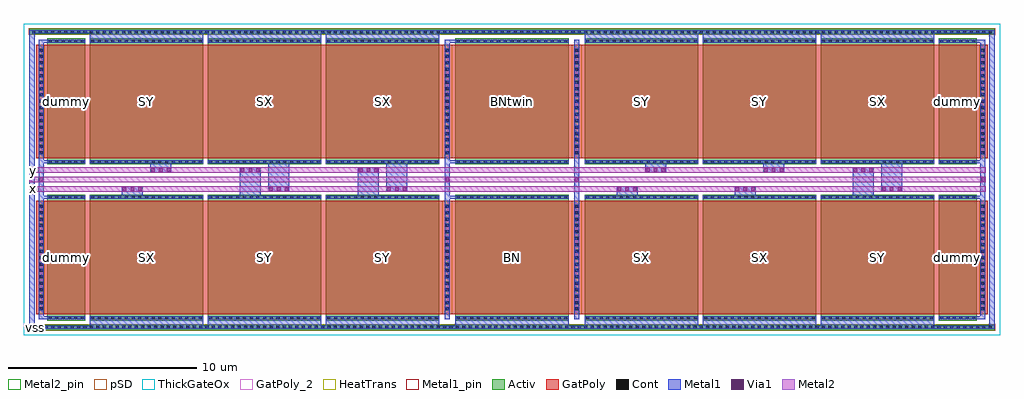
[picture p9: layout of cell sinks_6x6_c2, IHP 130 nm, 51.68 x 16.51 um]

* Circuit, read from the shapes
.subckt sinks_6x6_c2 vbn vss x y
XM1 vbn vbn vbn vss sg13_hv_nmos w=2u l=6u m=4
XM2 x vbn vss vss sg13_hv_nmos w=6u l=6u m=6
XM3 vss vbn y vss sg13_hv_nmos w=6u l=6u m=6
XM4 vbn vbn vss vss sg13_hv_nmos w=6u l=6u
XM5 vbn vbn vbn vss sg13_hv_nmos w=6u l=6u
.ends

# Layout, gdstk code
from math import pi, radians
import gdstk
lib = gdstk.Library(unit=1e-6, precision=1e-09)
def R(c, l, rs):  # rectangles x0, y0, x1, y1
    for r in rs: c.add(gdstk.rectangle(r[:2], r[2:], *l))
def A(c, l, x, y, w, h, nx, ny, dx, dy):  # array of equal rectangles
    R(c, l, [(x+i*dx, y+j*dy, x+i*dx+w, y+j*dy+h) for i in range(nx) for j in range(ny)])
Activ = (1, 0)
GatPoly = (5, 0)
GatPoly_2 = (5, 2)
Cont = (6, 0)
Metal1 = (8, 0)
Metal1_pin = (8, 2)
Metal2 = (10, 0)
Metal2_pin = (10, 2)
pSD = (14, 0)
Via1 = (19, 0)
ThickGateOx = (44, 0)
HeatTrans = (51, 0)

nmoshv_1_1 = lib.new_cell('nmosHV$1$1')
R(nmoshv_1_1, Activ, [(0,0,0.3,0.3), (0,0,6.68,6), (6.38,0,6.68,0.3)])
R(nmoshv_1_1, GatPoly, [(0.34,-0.18,6.34,6.18)])
R(nmoshv_1_1, GatPoly_2, [(0.34,-0.18,6.34,6.18)])
A(nmoshv_1_1, Cont, 0.07, 0.07, 0.16, 0.16, 1, 4, 0, 0.355)
A(nmoshv_1_1, Cont, 6.45, 0.07, 0.16, 0.16, 1, 4, 0, 0.355)
A(nmoshv_1_1, Cont, 0.07, 1.495, 0.16, 0.16, 1, 4, 0, 0.355)
A(nmoshv_1_1, Cont, 6.45, 1.495, 0.16, 0.16, 1, 4, 0, 0.355)
A(nmoshv_1_1, Cont, 0.07, 2.92, 0.16, 0.16, 1, 4, 0, 0.355)
A(nmoshv_1_1, Cont, 6.45, 2.92, 0.16, 0.16, 1, 4, 0, 0.355)
A(nmoshv_1_1, Cont, 0.07, 4.345, 0.16, 0.16, 1, 4, 0, 0.355)
A(nmoshv_1_1, Cont, 6.45, 4.345, 0.16, 0.16, 1, 4, 0, 0.355)
R(nmoshv_1_1, Cont, [(0.07,5.77,0.23,5.93), (6.45,5.77,6.61,5.93)])
R(nmoshv_1_1, Metal1, [(0.07,0,0.23,6), (6.45,0,6.61,6)])
R(nmoshv_1_1, Metal1_pin, [(0.07,0,0.23,6), (6.45,0,6.61,6)])
R(nmoshv_1_1, ThickGateOx, [(-0.27,-0.52,6.95,6.52)])
R(nmoshv_1_1, HeatTrans, [(0.34,-0.18,6.34,6.18)])
nmoshv_1_1.add(gdstk.Label('nmosHV', (3.34,3), layer=63, texttype=0))
nmoshv_1_1.add(gdstk.Label('nmosHV', (3.34,3), layer=51, texttype=0))

nmoshv_7 = lib.new_cell('nmosHV$7')
R(nmoshv_7, Activ, [(0,0,0.3,0.3), (0,0,6.68,2), (6.38,0,6.68,0.3)])
R(nmoshv_7, GatPoly, [(0.34,-0.18,6.34,2.18)])
R(nmoshv_7, GatPoly_2, [(0.34,-0.18,6.34,2.18)])
A(nmoshv_7, Cont, 0.07, 0.07, 0.16, 0.16, 1, 6, 0, 0.34)
A(nmoshv_7, Cont, 6.45, 0.07, 0.16, 0.16, 1, 6, 0, 0.34)
R(nmoshv_7, Metal1, [(0.07,0,0.23,2), (6.45,0,6.61,2)])
R(nmoshv_7, Metal1_pin, [(0.07,0,0.23,2), (6.45,0,6.61,2)])
R(nmoshv_7, ThickGateOx, [(-0.27,-0.52,6.95,2.52)])
R(nmoshv_7, HeatTrans, [(0.34,-0.18,6.34,2.18)])
nmoshv_7.add(gdstk.Label('nmosHV', (3.34,1), layer=63, texttype=0))
nmoshv_7.add(gdstk.Label('nmosHV', (3.34,1), layer=51, texttype=0))

sinks_6x6_c2 = lib.new_cell('sinks_6x6_c2')
R(sinks_6x6_c2, Activ, [(-0.97,-0.51,50.17,-0.21), (-0.97,15.16,50.17,15.46)])
R(sinks_6x6_c2, GatPoly, [(-0.6,0.34,-0.1,6.34), (20.85,0.34,21.5,6.34), (27.7,0.34,28.35,6.34), (49.3,0.34,49.8,6.34), (-0.6,8.61,-0.1,14.61), (20.85,8.61,21.5,14.61), (27.7,8.61,28.35,14.61), (49.3,8.61,49.8,14.61)])
A(sinks_6x6_c2, Cont, -0.81, -0.44, 0.16, 0.16, 150, 2, 0.34, 15.67)
A(sinks_6x6_c2, Cont, -0.41, 0.54, 0.16, 0.16, 1, 17, 0, 0.34)
A(sinks_6x6_c2, Cont, 21.095, 0.54, 0.16, 0.16, 1, 17, 0, 0.34)
A(sinks_6x6_c2, Cont, 27.945, 0.54, 0.16, 0.16, 1, 17, 0, 0.34)
A(sinks_6x6_c2, Cont, 49.45, 0.54, 0.16, 0.16, 1, 17, 0, 0.34)
A(sinks_6x6_c2, Cont, -0.41, 8.81, 0.16, 0.16, 1, 17, 0, 0.34)
A(sinks_6x6_c2, Cont, 21.095, 8.81, 0.16, 0.16, 1, 17, 0, 0.34)
A(sinks_6x6_c2, Cont, 27.945, 8.81, 0.16, 0.16, 1, 17, 0, 0.34)
A(sinks_6x6_c2, Cont, 49.45, 8.81, 0.16, 0.16, 1, 17, 0, 0.34)
A(sinks_6x6_c2, Metal1, 2.25, -0.44, 6, 0.67, 3, 2, 6.25, 15.16)
A(sinks_6x6_c2, Metal1, 28.45, -0.44, 6, 0.67, 3, 2, 6.25, 15.16)
R(sinks_6x6_c2, Metal1, [(-0.97,-0.44,-0.68,15.39), (-0.86,-0.44,50.06,-0.28), (21.6,-0.44,27.6,0.23), (49.88,-0.44,50.17,15.39), (-0.46,0.07,-0.2,14.88), (-0.33,0.07,0.1,0.23), (21.045,0.07,21.305,14.88), (27.895,0.07,28.155,14.88), (49.1,0.07,49.53,0.23), (49.4,0.07,49.66,14.88), (-0.33,6.45,0.1,6.61), (3.945,6.45,5.055,7.12), (10.195,6.45,11.305,8.12), (16.445,6.45,17.555,8.12), (21.175,6.45,21.7,6.61), (30.145,6.45,31.255,7.12), (36.395,6.45,37.505,7.12), (42.645,6.45,43.755,8.12), (49.1,6.45,49.53,6.61), (11.695,6.83,12.805,8.5), (17.945,6.83,19.055,8.5), (44.145,6.83,45.255,8.5), (5.445,7.83,6.555,8.5), (31.645,7.83,32.755,8.5), (37.895,7.83,39.005,8.5), (-0.33,8.34,0.1,8.5), (21.175,8.34,21.7,8.5), (49.1,8.34,49.53,8.5), (-0.33,14.72,0.1,14.88), (21.175,14.72,21.7,14.88), (49.1,14.72,49.53,14.88), (-0.86,15.23,50.06,15.39)])
R(sinks_6x6_c2, Metal1_pin, [(-0.86,-0.44,-0.36,-0.28)])
A(sinks_6x6_c2, Metal2, -0.97, 6.83, 50.645, 0.29, 1, 3, 0, 0.5)
A(sinks_6x6_c2, Metal2_pin, -0.97, 6.83, 0.5, 0.29, 1, 3, 0, 0.5)
R(sinks_6x6_c2, pSD, [(-1,-0.54,50.2,-0.18), (-1,15.13,50.2,15.49)])
A(sinks_6x6_c2, Via1, 3.995, 6.88, 0.19, 0.19, 3, 1, 0.41, 0)
A(sinks_6x6_c2, Via1, 11.745, 6.88, 0.19, 0.19, 3, 1, 0.41, 0)
A(sinks_6x6_c2, Via1, 17.995, 6.88, 0.19, 0.19, 3, 1, 0.41, 0)
A(sinks_6x6_c2, Via1, 30.195, 6.88, 0.19, 0.19, 3, 1, 0.41, 0)
A(sinks_6x6_c2, Via1, 36.445, 6.88, 0.19, 0.19, 3, 1, 0.41, 0)
A(sinks_6x6_c2, Via1, 44.195, 6.88, 0.19, 0.19, 3, 1, 0.41, 0)
A(sinks_6x6_c2, Via1, 5.495, 7.88, 0.19, 0.19, 3, 1, 0.41, 0)
A(sinks_6x6_c2, Via1, 10.245, 7.88, 0.19, 0.19, 3, 1, 0.41, 0)
A(sinks_6x6_c2, Via1, 16.495, 7.88, 0.19, 0.19, 3, 1, 0.41, 0)
A(sinks_6x6_c2, Via1, 31.695, 7.88, 0.19, 0.19, 3, 1, 0.41, 0)
A(sinks_6x6_c2, Via1, 37.945, 7.88, 0.19, 0.19, 3, 1, 0.41, 0)
A(sinks_6x6_c2, Via1, 42.695, 7.88, 0.19, 0.19, 3, 1, 0.41, 0)
R(sinks_6x6_c2, Via1, [(-0.425,7.38,-0.235,7.57), (21.08,7.38,21.27,7.57), (27.93,7.38,28.12,7.57), (49.435,7.38,49.625,7.57)])
R(sinks_6x6_c2, ThickGateOx, [(-1.24,-0.78,50.44,15.73)])
sinks_6x6_c2.add(gdstk.Reference(nmoshv_1_1, (2.25,6.68), rotation=3*pi/2))
sinks_6x6_c2.add(gdstk.Reference(nmoshv_1_1, (8.5,6.68), rotation=3*pi/2))
sinks_6x6_c2.add(gdstk.Reference(nmoshv_1_1, (14.75,6.68), rotation=3*pi/2))
sinks_6x6_c2.add(gdstk.Reference(nmoshv_1_1, (21.6,6.68), rotation=3*pi/2))
sinks_6x6_c2.add(gdstk.Reference(nmoshv_1_1, (2.25,14.95), rotation=3*pi/2))
sinks_6x6_c2.add(gdstk.Reference(nmoshv_1_1, (8.5,14.95), rotation=3*pi/2))
sinks_6x6_c2.add(gdstk.Reference(nmoshv_1_1, (14.75,14.95), rotation=3*pi/2))
sinks_6x6_c2.add(gdstk.Reference(nmoshv_1_1, (21.6,14.95), rotation=3*pi/2))
sinks_6x6_c2.add(gdstk.Reference(nmoshv_1_1, (34.45,6.68), rotation=3*pi/2, x_reflection=True))
sinks_6x6_c2.add(gdstk.Reference(nmoshv_1_1, (40.7,6.68), rotation=3*pi/2, x_reflection=True))
sinks_6x6_c2.add(gdstk.Reference(nmoshv_1_1, (46.95,6.68), rotation=3*pi/2, x_reflection=True))
sinks_6x6_c2.add(gdstk.Reference(nmoshv_1_1, (46.95,14.95), rotation=3*pi/2, x_reflection=True))
sinks_6x6_c2.add(gdstk.Reference(nmoshv_1_1, (40.7,14.95), rotation=3*pi/2, x_reflection=True))
sinks_6x6_c2.add(gdstk.Reference(nmoshv_1_1, (34.45,14.95), rotation=3*pi/2, x_reflection=True))
sinks_6x6_c2.add(gdstk.Reference(nmoshv_7, (0,14.95), rotation=3*pi/2))
sinks_6x6_c2.add(gdstk.Reference(nmoshv_7, (0,6.68), rotation=3*pi/2))
sinks_6x6_c2.add(gdstk.Reference(nmoshv_7, (49.2,6.68), rotation=3*pi/2, x_reflection=True))
sinks_6x6_c2.add(gdstk.Reference(nmoshv_7, (49.2,14.95), rotation=3*pi/2, x_reflection=True))
sinks_6x6_c2.add(gdstk.Label('dummy', (1,3.34), layer=63, texttype=0))
sinks_6x6_c2.add(gdstk.Label('SX', (5.25,3.34), layer=63, texttype=0))
sinks_6x6_c2.add(gdstk.Label('SY', (11.5,3.34), layer=63, texttype=0))
sinks_6x6_c2.add(gdstk.Label('SY', (17.75,3.34), layer=63, texttype=0))
sinks_6x6_c2.add(gdstk.Label('BN', (24.6,3.34), layer=63, texttype=0))
sinks_6x6_c2.add(gdstk.Label('SX', (31.45,3.34), layer=63, texttype=0))
sinks_6x6_c2.add(gdstk.Label('SX', (37.7,3.34), layer=63, texttype=0))
sinks_6x6_c2.add(gdstk.Label('SY', (43.95,3.34), layer=63, texttype=0))
sinks_6x6_c2.add(gdstk.Label('dummy', (48.2,3.34), layer=63, texttype=0))
sinks_6x6_c2.add(gdstk.Label('dummy', (1,11.61), layer=63, texttype=0))
sinks_6x6_c2.add(gdstk.Label('SY', (5.25,11.61), layer=63, texttype=0))
sinks_6x6_c2.add(gdstk.Label('SX', (11.5,11.61), layer=63, texttype=0))
sinks_6x6_c2.add(gdstk.Label('SX', (17.75,11.61), layer=63, texttype=0))
sinks_6x6_c2.add(gdstk.Label('BNtwin', (24.6,11.61), layer=63, texttype=0))
sinks_6x6_c2.add(gdstk.Label('SY', (31.45,11.61), layer=63, texttype=0))
sinks_6x6_c2.add(gdstk.Label('SY', (37.7,11.61), layer=63, texttype=0))
sinks_6x6_c2.add(gdstk.Label('SX', (43.95,11.61), layer=63, texttype=0))
sinks_6x6_c2.add(gdstk.Label('dummy', (48.2,11.61), layer=63, texttype=0))
sinks_6x6_c2.add(gdstk.Label('vss', (-0.61,-0.36), layer=8, texttype=25))
sinks_6x6_c2.add(gdstk.Label('x', (-0.72,6.975), layer=10, texttype=25))
sinks_6x6_c2.add(gdstk.Label('vbn', (-0.72,7.475), layer=10, texttype=25))
sinks_6x6_c2.add(gdstk.Label('y', (-0.72,7.975), layer=10, texttype=25))

lib.write_gds('sinks_6x6_c2.gds')
